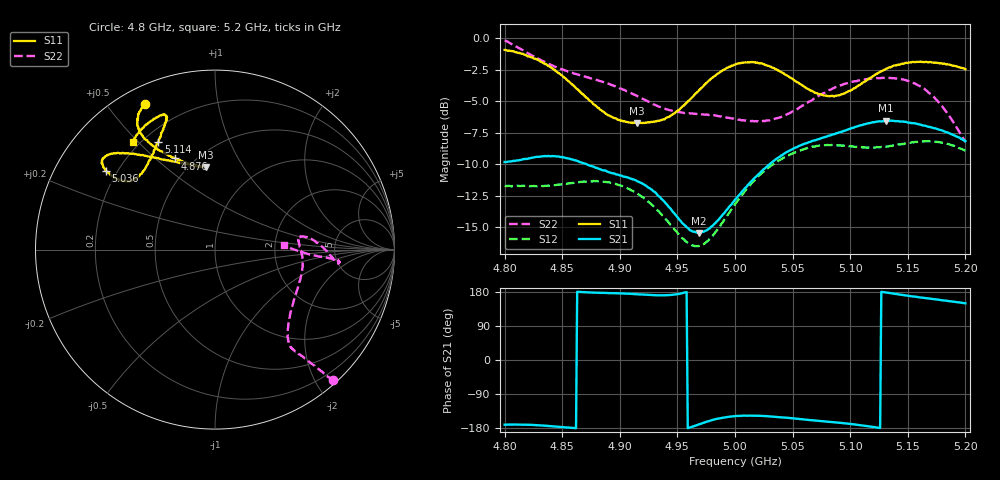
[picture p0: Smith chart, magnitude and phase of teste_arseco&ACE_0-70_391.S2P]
! Network Analyzer HP8722D
! Hewlett-Packard
! Data name: Linha & Wilkinson
! Saver's name: Rodrigo Anjos
! Comments: Teste da utilização de aquisição
! continua pelo VNA HP8722D
! Time and date: 8/5/2025 16:01
!  Frequency  S11  S21  S12  S22
# HZ  S  MA R 50
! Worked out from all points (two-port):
!   401 points, 4.8 GHz to 5.2 GHz, reference 50 ohm
!   highest |S21| = -6.54 dB at 5.131 GHz (marker M1); lowest = -15.5 dB at 4.969 GHz (marker M2)
!   |S21| within 3 dB of the highest: 4.822 GHz to 4.854 GHz (32.93 MHz wide, 0.681 % of centre); 5.037 GHz to end of sweep
!   lowest |S11| = -6.7 dB at 4.915 GHz (marker M3), VSWR 2.71, Z = 30 + j34.8 ohm
!   |S11| at or under -10 dB: nowhere
!   |S22| runs from -8.2 to -0.2 dB; largest |S21 - S12| = 0.83
!   S11 on the Smith chart (normalised r, x): 4.8 GHz: 0.07, +0.63; 4.876 GHz: 0.40, +0.58; 5.036 GHz: 0.16, +0.32; 5.114 GHz: 0.26, +0.58; 5.2 GHz: 0.17, +0.48
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4.8e9  0.8997 115.7  0.3226 -170.7  0.259 -86.2  0.9808 -47.9
4.819e9  0.8546 120.1  0.3318 -170.8  0.2583 -82.1  0.8793 -49.2
4.835e9  0.7899 122.2  0.3409 -173.4  0.2592 -76.9  0.8048 -50.1
4.867e9  0.6033 117.6  0.3207 179.1  0.2689 -67.9  0.7115 -51.9
4.876e9  0.5546 113.6  0.31 178.0  0.2696 -66.9  0.693 -52.2
4.899e9  0.4739 101.3  0.2863 175.9  0.2614 -67.4  0.6371 -50.4
4.915e9  0.4604 96.4  0.2707 173.5  0.2416 -69.1  0.5901 -46.3
4.934e9  0.4698 100.1  0.2354 170.7  0.2052 -70.0  0.5349 -37.0
4.956e9  0.5425 115.4  0.1811 177.4  0.1584 -60.6  0.5048 -22.5
4.969e9  0.624 124.3  0.1683 -169.4  0.1496 -46.4  0.5012 -14.7
4.98e9  0.6949 130.0  0.1793 -158.6  0.1629 -34.0  0.4948 -9.1
5e9  0.7881 137.4  0.2285 -148.3  0.2191 -21.6  0.4777 -0.3
5.018e9  0.8007 141.7  0.2816 -146.9  0.2757 -18.9  0.469 5.8
5.036e9  0.7521 144.2  0.3318 -150.1  0.3224 -19.1  0.4806 8.5
5.067e9  0.6172 142.0  0.3911 -158.9  0.3712 -21.5  0.5679 3.9
5.088e9  0.5918 132.6  0.4197 -164.9  0.3764 -24.7  0.6412 -2.6
5.114e9  0.6795 117.7  0.4578 -174.2  0.3679 -27.5  0.6879 -6.2
5.131e9  0.7574 111.6  0.4712 178.0  0.371 -29.3  0.696 -6.0
5.134e9  0.7654 110.9  0.4691 176.7  0.3727 -29.6  0.6962 -5.7
5.162e9  0.8058 112.8  0.4525 164.6  0.3894 -36.5  0.6401 -4.4
5.18e9  0.7937 118.9  0.4299 157.7  0.3848 -42.1  0.5358 -2.9
5.2e9  0.754 127.5  0.3902 149.6  0.3575 -47.6  0.387 3.4
